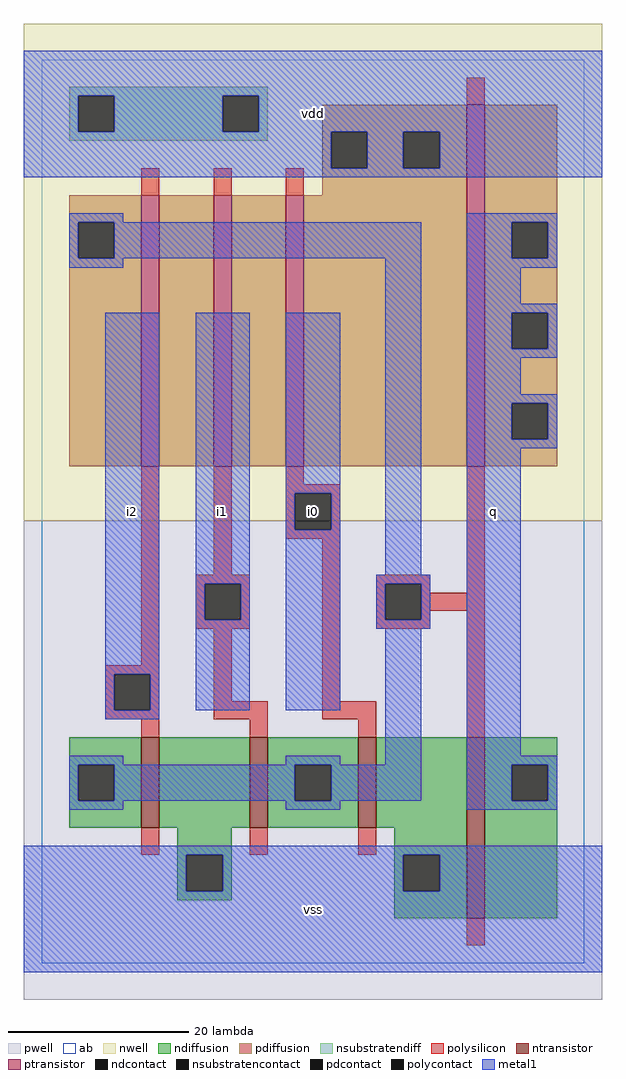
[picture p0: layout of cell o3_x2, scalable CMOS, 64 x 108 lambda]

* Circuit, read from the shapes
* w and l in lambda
.subckt o3_x2 i0 i1 i2 q vdd vss
M1 vss i2 n1 VSUBS nfet w=10 l=2
M2 n1 i1 vss VSUBS nfet w=10 l=2
M3 vss i0 n1 VSUBS nfet w=10 l=2
M4 q n1 vss VSUBS nfet w=20 l=2
M5 n2 i2 n1 vdd pfet w=30 l=2
M6 n3 i1 n2 vdd pfet w=30 l=2
M7 vdd i0 n3 vdd pfet w=30 l=2
M8 q n1 vdd vdd pfet w=40 l=2
.ends

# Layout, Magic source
magic
tech scmos
<< ab >>
rect 0 0 60 100
<< pwell >>
rect -2 -4 62 49
<< nwell >>
rect -2 49 62 104
<< polysilicon >>
rect 47 95 49 98
rect 11 85 13 88
rect 19 85 21 88
rect 27 85 29 88
rect 11 33 13 55
rect 19 43 21 55
rect 27 53 29 55
rect 27 52 33 53
rect 27 48 28 52
rect 32 48 33 52
rect 27 47 33 48
rect 17 42 23 43
rect 17 38 18 42
rect 22 38 23 42
rect 17 37 23 38
rect 7 32 13 33
rect 7 28 8 32
rect 12 28 13 32
rect 7 27 13 28
rect 19 29 21 37
rect 31 29 33 47
rect 37 42 43 43
rect 37 38 38 42
rect 42 41 43 42
rect 47 41 49 55
rect 42 39 49 41
rect 42 38 43 39
rect 37 37 43 38
rect 19 27 25 29
rect 31 27 37 29
rect 11 25 13 27
rect 23 25 25 27
rect 35 25 37 27
rect 47 25 49 39
rect 11 12 13 15
rect 23 12 25 15
rect 35 12 37 15
rect 47 2 49 5
<< ndiffusion >>
rect 3 22 11 25
rect 3 18 4 22
rect 8 18 11 22
rect 3 15 11 18
rect 13 15 23 25
rect 25 22 35 25
rect 25 18 28 22
rect 32 18 35 22
rect 25 15 35 18
rect 37 15 47 25
rect 15 12 21 15
rect 39 12 47 15
rect 15 8 16 12
rect 20 8 21 12
rect 15 7 21 8
rect 39 8 40 12
rect 44 8 47 12
rect 39 5 47 8
rect 49 22 57 25
rect 49 18 52 22
rect 56 18 57 22
rect 49 5 57 18
<< pdiffusion >>
rect 31 92 47 95
rect 31 88 32 92
rect 36 88 40 92
rect 44 88 47 92
rect 31 85 47 88
rect 3 82 11 85
rect 3 78 4 82
rect 8 78 11 82
rect 3 55 11 78
rect 13 55 19 85
rect 21 55 27 85
rect 29 55 47 85
rect 49 82 57 95
rect 49 78 52 82
rect 56 78 57 82
rect 49 72 57 78
rect 49 68 52 72
rect 56 68 57 72
rect 49 62 57 68
rect 49 58 52 62
rect 56 58 57 62
rect 49 55 57 58
<< metal1 >>
rect -2 96 62 101
rect -2 92 4 96
rect 8 92 20 96
rect 24 92 62 96
rect -2 88 32 92
rect 36 88 40 92
rect 44 88 62 92
rect -2 87 62 88
rect 3 82 9 83
rect 47 82 57 83
rect 3 78 4 82
rect 8 78 42 82
rect 3 77 9 78
rect 7 32 13 72
rect 7 28 8 32
rect 12 28 13 32
rect 17 42 23 72
rect 17 38 18 42
rect 22 38 23 42
rect 17 28 23 38
rect 27 52 33 72
rect 27 48 28 52
rect 32 48 33 52
rect 27 28 33 48
rect 38 43 42 78
rect 47 78 52 82
rect 56 78 57 82
rect 47 77 57 78
rect 47 73 53 77
rect 47 72 57 73
rect 47 68 52 72
rect 56 68 57 72
rect 47 67 57 68
rect 47 63 53 67
rect 47 62 57 63
rect 47 58 52 62
rect 56 58 57 62
rect 47 57 57 58
rect 37 42 43 43
rect 37 38 38 42
rect 42 38 43 42
rect 37 37 43 38
rect 7 27 13 28
rect 3 22 9 23
rect 27 22 33 23
rect 38 22 42 37
rect 3 18 4 22
rect 8 18 28 22
rect 32 18 42 22
rect 47 23 53 57
rect 47 22 57 23
rect 47 18 52 22
rect 56 18 57 22
rect 3 17 9 18
rect 27 17 33 18
rect 47 17 57 18
rect -2 12 62 13
rect -2 8 16 12
rect 20 8 40 12
rect 44 8 62 12
rect -2 -1 62 8
<< ntransistor >>
rect 11 15 13 25
rect 23 15 25 25
rect 35 15 37 25
rect 47 5 49 25
<< ptransistor >>
rect 11 55 13 85
rect 19 55 21 85
rect 27 55 29 85
rect 47 55 49 95
<< polycontact >>
rect 28 48 32 52
rect 18 38 22 42
rect 8 28 12 32
rect 38 38 42 42
<< ndcontact >>
rect 4 18 8 22
rect 28 18 32 22
rect 16 8 20 12
rect 40 8 44 12
rect 52 18 56 22
<< pdcontact >>
rect 32 88 36 92
rect 40 88 44 92
rect 4 78 8 82
rect 52 78 56 82
rect 52 68 56 72
rect 52 58 56 62
<< nsubstratencontact >>
rect 4 92 8 96
rect 20 92 24 96
<< nsubstratendiff >>
rect 3 96 25 97
rect 3 92 4 96
rect 8 92 20 96
rect 24 92 25 96
rect 3 91 25 92
<< labels >>
rlabel metal1 10 50 10 50 6 i2
rlabel metal1 10 50 10 50 6 i2
rlabel metal1 20 50 20 50 6 i1
rlabel metal1 20 50 20 50 6 i1
rlabel metal1 30 6 30 6 6 vss
rlabel metal1 30 6 30 6 6 vss
rlabel polycontact 30 50 30 50 6 i0
rlabel polycontact 30 50 30 50 6 i0
rlabel metal1 30 94 30 94 6 vdd
rlabel metal1 30 94 30 94 6 vdd
rlabel metal1 50 50 50 50 6 q
rlabel metal1 50 50 50 50 6 q
<< end >>
